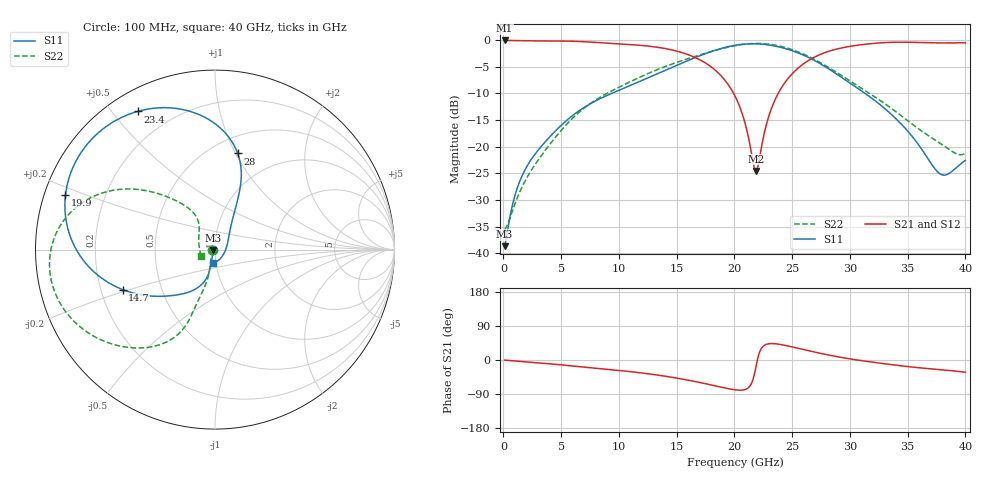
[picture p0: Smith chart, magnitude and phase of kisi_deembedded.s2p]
! B_s8_L1L3_stub_d200: kisi-fdtd, de-embedded with the 2×thru
# Hz S RI R 50
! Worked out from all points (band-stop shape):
!   400 points, 100 MHz to 40 GHz, reference 50 ohm
!   highest |S21| = -0.08 dB at 100 MHz (marker M1); lowest = -24.6 dB at 21.9 GHz (marker M2)
!   |S21| within 3 dB of the highest: start of sweep to 16.39 GHz; 27.05 GHz to end of sweep
!   lowest |S11| = -38.6 dB at 100 MHz (marker M3), VSWR 1.02, Z = 48.9 - j0.323 ohm
!   |S11| at or under -10 dB: start of sweep to 9.376 GHz; 31.31 GHz to end of sweep
!   |S22| runs from -35.5 to -0.6 dB; largest |S21 - S12| = 3.3e-06
!   S11 on the Smith chart (normalised r, x): 100 MHz: 0.98, -0.01; 14.7 GHz: 0.29, -0.19; 19.9 GHz: 0.06, +0.18; 23.4 GHz: 0.08, +0.58; 28 GHz: 0.66, +1.02; 40 GHz: 0.97, -0.14
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1e8  -0.0112 -0.0033  0.9904 -0.00469  0.9904 -0.00469  -0.0166 -0.00231
1e9  -0.0138 -0.0323  0.9871 -0.0461  0.9871 -0.0461  -0.0181 -0.0229
2e9  -0.0193 -0.0616  0.9795 -0.0887  0.9795 -0.0887  -0.0214 -0.0458
4.2e9  -0.0332 -0.1257  0.9633 -0.1796  0.9633 -0.1796  -0.0292 -0.1078
6.8e9  -0.0903 -0.2077  0.9175 -0.3034  0.9175 -0.3034  -0.0602 -0.2131
1.34e10  -0.4176 -0.2508  0.6533 -0.5488  0.6533 -0.5488  -0.2204 -0.4839
1.47e10  -0.5146 -0.2229  0.555 -0.5787  0.555 -0.5787  -0.2934 -0.5248
1.74e10  -0.7368 -0.0555  0.2915 -0.5449  0.2915 -0.5449  -0.515 -0.5402
1.99e10  -0.8331 0.3038  0.0667 -0.3129  0.0667 -0.3129  -0.7767 -0.4082
2.01e10  -0.828 0.3388  0.0564 -0.2852  0.0564 -0.2852  -0.7962 -0.3887
2.09e10  -0.7823 0.4777  0.0349 -0.1661  0.0349 -0.1661  -0.8638 -0.2976
2.17e10  -0.698 0.6033  0.0486 -0.0426  0.0486 -0.0426  -0.9081 -0.1891
2.19e10  -0.6717 0.6308  0.0577 -0.0125  0.0577 -0.0125  -0.9146 -0.1603
2.27e10  -0.5504 0.721  0.115 0.0981  0.115 0.0981  -0.9205 -0.0431
2.34e10  -0.4315 0.77  0.1879 0.1767  0.1879 0.1767  -0.8994 0.0551
2.48e10  -0.1943 0.7832  0.3698 0.2683  0.3698 0.2683  -0.7976 0.2145
2.67e10  0.0467 0.661  0.6185 0.2578  0.6185 0.2578  -0.5947 0.3247
2.8e10  0.1266 0.5356  0.7501 0.1872  0.7501 0.1872  -0.4552 0.337
3.04e10  0.1397 0.3423  0.8854 0.016  0.8854 0.016  -0.2577 0.2908
3.34e10  0.1015 0.1833  0.9308 -0.1888  0.9308 -0.1888  -0.1196 0.2043
3.78e10  0.0541 -0.0131  0.8475 -0.4034  0.8475 -0.4034  -0.0911 0.0578
4e10  -0.00906 -0.0739  0.7976 -0.5019  0.7976 -0.5019  -0.0793 -0.0358
